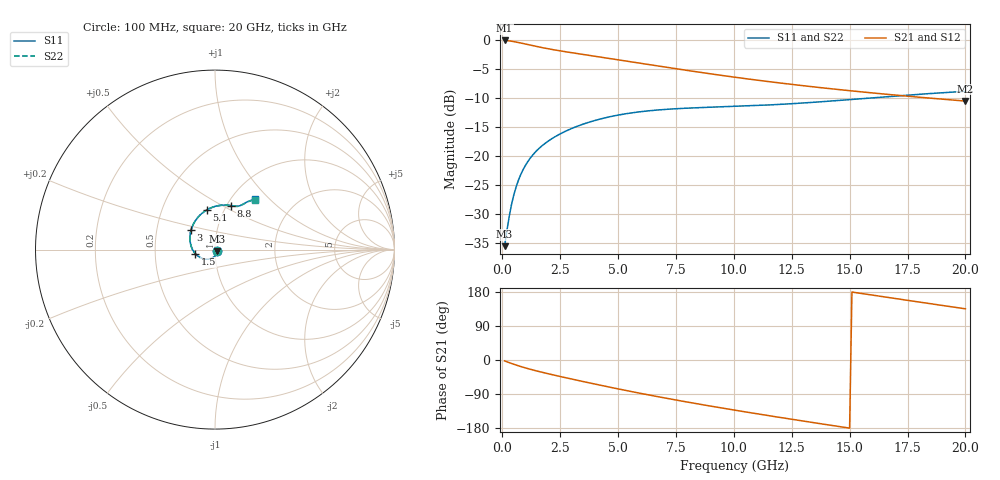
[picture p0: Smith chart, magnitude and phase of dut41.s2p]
! Touchstone file exported from HFSS 2023.1.0
!  File:  D:/Users/fzz/RDL_TSV/temp_RDL_TSV_41_1778744711.aedt
!  Generated:  3:52:58 %x4E0B%x5348  5%x6708 14, 2026
!  Design:  RDL_TSV
!  Project:  temp_RDL_TSV_41_1778744711
!  Setup:  Setup1
!  Solution:  Sweep
! Variables:
!  dtsv = 22.37um
!  hbump = 3um
!  htsv = 79.71um
!  ldown = 155.73um
!  lrdl = 541.87um
!  p = 40
!  p1 = 55.24um
!  rhole = 10um
!  subl = 2634.67um
!  t = 450um
!  tdown = 4.27um
!  trdl = 3.16um
!  viad = 10um
!  wdown = 19.48um
!  wrdl = 20.82um
!  xbump = 18um
# GHz S MA R 50.000000
! Terminal data exported
! Port[1] = TM1_1_T1
! Port[2] = TM1_4_T1
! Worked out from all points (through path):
!   200 points, 100 MHz to 20 GHz, reference 50 ohm
!   highest |S21| = -0.13 dB at 100 MHz (marker M1); lowest = -10.6 dB at 20 GHz (marker M2)
!   group delay of S21, straight-line fit = 29.6 ps
!   lowest |S11| = -35.6 dB at 100 MHz (marker M3), VSWR 1.03, Z = 51.3 - j1.07 ohm
!   |S11| at or under -10 dB: start of sweep to 16.06 GHz
!   |S22| runs from -35.6 to -9.0 dB; largest |S21 - S12| = 3.8e-14
!   S11 on the Smith chart (normalised r, x): 100 MHz: 1.03, -0.02; 1.5 GHz: 0.80, -0.04; 3 GHz: 0.75, +0.17; 5.1 GHz: 0.83, +0.39; 8.8 GHz: 1.05, +0.55; 20 GHz: 1.28, +0.82
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0.1  0.01659 -38.9  0.9849 -2.4  0.9849 -2.4  0.01659 -38.9
! Gamma 0 0 0 0
! Port Impedance 50 0 50 0
0.3  0.03005 -82.9  0.9766 -7.0  0.9766 -7.0  0.03005 -82.9
0.4  0.03807 -95.5  0.9701 -9.2  0.9701 -9.2  0.03807 -95.5
0.6  0.05401 -114.2  0.9544 -13.4  0.9544 -13.4  0.05401 -114.2
0.8  0.06892 -129.0  0.9363 -17.3  0.9363 -17.3  0.06891 -129.0
1  0.08251 -141.7  0.9174 -20.9  0.9174 -20.9  0.08248 -141.7
1.5  0.1112 -167.8  0.8722 -29.1  0.8722 -29.1  0.1111 -167.8
2.1  0.1385 168.1  0.8267 -38.0  0.8267 -38.0  0.1384 168.1
3  0.1717 141.2  0.772 -50.3  0.772 -50.3  0.1714 141.2
3.5  0.1873 129.5  0.7452 -57.0  0.7452 -57.0  0.187 129.5
4.3  0.2087 114.1  0.7048 -67.4  0.7048 -67.4  0.2084 114.1
5.1  0.2257 101.8  0.6663 -77.5  0.6663 -77.5  0.2253 101.8
6.8  0.2485 83.1  0.5904 -97.7  0.5904 -97.7  0.248 83.1
7.8  0.2559 75.6  0.5504 -108.9  0.5504 -108.9  0.2553 75.6
8.8  0.2608 70.1  0.5143 -119.6  0.5143 -119.6  0.2603 70.1
10.1  0.2663 65.3  0.4731 -133.0  0.4731 -133.0  0.2657 65.2
11.7  0.2749 61.7  0.4303 -148.7  0.4303 -148.7  0.2742 61.6
13.4  0.2882 59.4  0.3928 -164.9  0.3928 -164.9  0.2873 59.3
15  0.3044 57.7  0.3633 -179.8  0.3633 -179.8  0.3032 57.5
16.7  0.3235 55.7  0.3368 164.7  0.3368 164.7  0.3221 55.5
18.4  0.3425 53.5  0.3142 149.4  0.3142 149.4  0.3407 53.3
20  0.3586 51.3  0.2958 135.1  0.2958 135.1  0.3565 51.1
